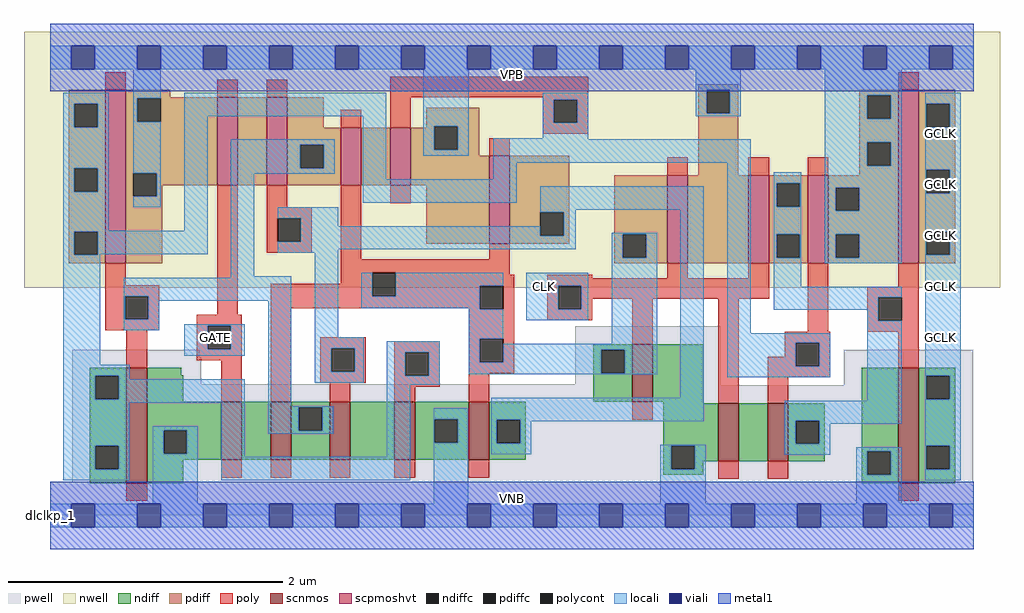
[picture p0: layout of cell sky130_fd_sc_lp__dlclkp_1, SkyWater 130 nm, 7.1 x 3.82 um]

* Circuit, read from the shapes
.subckt sky130_fd_sc_lp__dlclkp_1 CLK GATE VGND VNB VPB VPWR GCLK
XM1 VGND n1 n2 VNB sky130_fd_pr__nfet_01v8 w=0.84 l=0.15
XM2 n3 GATE VGND VNB sky130_fd_pr__nfet_01v8 w=0.42 l=0.15
XM3 n1 n4 n3 VNB sky130_fd_pr__nfet_01v8 w=0.42 l=0.15
XM4 n5 n6 n1 VNB sky130_fd_pr__nfet_01v8 w=0.42 l=0.15
XM5 VGND n2 n5 VNB sky130_fd_pr__nfet_01v8 w=0.42 l=0.15
XM6 n6 n4 VGND VNB sky130_fd_pr__nfet_01v8 w=0.42 l=0.15
XM7 VGND CLK n4 VNB sky130_fd_pr__nfet_01v8 w=0.42 l=0.15
XM8 n7 CLK VGND VNB sky130_fd_pr__nfet_01v8 w=0.42 l=0.15
XM9 n8 n2 n7 VNB sky130_fd_pr__nfet_01v8 w=0.42 l=0.15
XM10 GCLK n8 VGND VNB sky130_fd_pr__nfet_01v8 w=0.84 l=0.15
XM11 VPWR n1 n2 VPB sky130_fd_pr__pfet_01v8_hvt w=1.26 l=0.15
XM12 n9 GATE VPWR VPB sky130_fd_pr__pfet_01v8_hvt w=0.64 l=0.15
XM13 n1 n6 n9 VPB sky130_fd_pr__pfet_01v8_hvt w=0.64 l=0.15
XM14 n10 n4 n1 VPB sky130_fd_pr__pfet_01v8_hvt w=0.42 l=0.15
XM15 VPWR n2 n10 VPB sky130_fd_pr__pfet_01v8_hvt w=0.42 l=0.15
XM16 n6 n4 VPWR VPB sky130_fd_pr__pfet_01v8_hvt w=0.64 l=0.15
XM17 VPWR CLK n4 VPB sky130_fd_pr__pfet_01v8_hvt w=0.64 l=0.15
XM18 n8 CLK VPWR VPB sky130_fd_pr__pfet_01v8_hvt w=0.64 l=0.15
XM19 VPWR n2 n8 VPB sky130_fd_pr__pfet_01v8_hvt w=0.64 l=0.15
XM20 GCLK n8 VPWR VPB sky130_fd_pr__pfet_01v8_hvt w=1.26 l=0.15
.ends

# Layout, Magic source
magic
tech sky130A
magscale 1 2
<< nwell >>
rect -38 331 1382 704
<< pwell >>
rect 32 230 217 241
rect 32 191 220 230
rect 764 191 976 275
rect 32 189 976 191
rect 1155 189 1343 241
rect 32 49 1343 189
rect 0 0 1344 49
<< scnmos >>
rect 111 47 141 215
rect 847 165 877 249
rect 249 81 279 165
rect 321 81 351 165
rect 407 81 437 165
rect 501 81 531 165
rect 609 81 639 165
rect 972 79 1002 163
rect 1044 79 1074 163
rect 1234 47 1264 215
<< scpmoshvt >>
rect 80 367 110 619
rect 243 480 273 608
rect 315 480 345 608
rect 423 480 453 564
rect 495 480 525 564
rect 639 395 669 523
rect 898 367 928 495
rect 1016 367 1046 495
rect 1102 367 1132 495
rect 1234 367 1264 619
<< ndiff >>
rect 58 203 111 215
rect 58 169 66 203
rect 100 169 111 203
rect 58 101 111 169
rect 58 67 66 101
rect 100 67 111 101
rect 58 47 111 67
rect 141 204 191 215
rect 141 165 194 204
rect 790 241 847 249
rect 790 207 802 241
rect 836 207 847 241
rect 790 165 847 207
rect 877 165 950 249
rect 141 124 249 165
rect 141 90 165 124
rect 199 90 249 124
rect 141 81 249 90
rect 279 81 321 165
rect 351 157 407 165
rect 351 123 362 157
rect 396 123 407 157
rect 351 81 407 123
rect 437 81 501 165
rect 531 140 609 165
rect 531 106 559 140
rect 593 106 609 140
rect 531 81 609 106
rect 639 139 692 165
rect 892 163 950 165
rect 639 105 650 139
rect 684 105 692 139
rect 639 81 692 105
rect 892 101 972 163
rect 141 47 194 81
rect 892 67 904 101
rect 938 79 972 101
rect 1002 79 1044 163
rect 1074 138 1127 163
rect 1074 104 1085 138
rect 1119 104 1127 138
rect 1074 79 1127 104
rect 1181 93 1234 215
rect 938 67 950 79
rect 892 59 950 67
rect 1181 59 1189 93
rect 1223 59 1234 93
rect 1181 47 1234 59
rect 1264 203 1317 215
rect 1264 169 1275 203
rect 1309 169 1317 203
rect 1264 101 1317 169
rect 1264 67 1275 101
rect 1309 67 1317 101
rect 1264 47 1317 67
<< pdiff >>
rect 27 599 80 619
rect 27 565 35 599
rect 69 565 80 599
rect 27 505 80 565
rect 27 471 35 505
rect 69 471 80 505
rect 27 413 80 471
rect 27 379 35 413
rect 69 379 80 413
rect 27 367 80 379
rect 110 608 175 619
rect 110 607 243 608
rect 110 573 127 607
rect 161 573 243 607
rect 110 498 243 573
rect 110 464 121 498
rect 155 480 243 498
rect 273 480 315 608
rect 345 564 398 608
rect 547 566 624 593
rect 547 564 559 566
rect 345 539 423 564
rect 345 505 364 539
rect 398 505 423 539
rect 345 480 423 505
rect 453 480 495 564
rect 525 532 559 564
rect 593 532 624 566
rect 943 619 1001 627
rect 943 585 955 619
rect 989 585 1001 619
rect 525 523 624 532
rect 525 480 639 523
rect 155 464 163 480
rect 110 367 163 464
rect 547 395 639 480
rect 669 441 755 523
rect 943 495 1001 585
rect 1177 611 1234 619
rect 1177 577 1189 611
rect 1223 577 1234 611
rect 1177 543 1234 577
rect 1177 509 1189 543
rect 1223 509 1234 543
rect 1177 495 1234 509
rect 669 407 713 441
rect 747 407 755 441
rect 669 395 755 407
rect 821 409 898 495
rect 821 375 833 409
rect 867 375 898 409
rect 821 367 898 375
rect 928 367 1016 495
rect 1046 483 1102 495
rect 1046 449 1057 483
rect 1091 449 1102 483
rect 1046 409 1102 449
rect 1046 375 1057 409
rect 1091 375 1102 409
rect 1046 367 1102 375
rect 1132 477 1234 495
rect 1132 443 1143 477
rect 1177 443 1234 477
rect 1132 409 1234 443
rect 1132 375 1143 409
rect 1177 375 1234 409
rect 1132 367 1234 375
rect 1264 599 1317 619
rect 1264 565 1275 599
rect 1309 565 1317 599
rect 1264 503 1317 565
rect 1264 469 1275 503
rect 1309 469 1317 503
rect 1264 413 1317 469
rect 1264 379 1275 413
rect 1309 379 1317 413
rect 1264 367 1317 379
<< ndiffc >>
rect 66 169 100 203
rect 66 67 100 101
rect 802 207 836 241
rect 165 90 199 124
rect 362 123 396 157
rect 559 106 593 140
rect 650 105 684 139
rect 904 67 938 101
rect 1085 104 1119 138
rect 1189 59 1223 93
rect 1275 169 1309 203
rect 1275 67 1309 101
<< pdiffc >>
rect 35 565 69 599
rect 35 471 69 505
rect 35 379 69 413
rect 127 573 161 607
rect 121 464 155 498
rect 364 505 398 539
rect 559 532 593 566
rect 955 585 989 619
rect 1189 577 1223 611
rect 1189 509 1223 543
rect 713 407 747 441
rect 833 375 867 409
rect 1057 449 1091 483
rect 1057 375 1091 409
rect 1143 443 1177 477
rect 1143 375 1177 409
rect 1275 565 1309 599
rect 1275 469 1309 503
rect 1275 379 1309 413
<< poly >>
rect 80 619 110 645
rect 243 608 273 634
rect 315 608 345 634
rect 495 608 783 638
rect 423 564 453 590
rect 495 564 525 608
rect 717 605 783 608
rect 717 571 733 605
rect 767 571 783 605
rect 717 555 783 571
rect 1234 619 1264 645
rect 639 523 669 549
rect 80 335 110 367
rect 80 319 159 335
rect 80 285 109 319
rect 143 285 159 319
rect 243 292 273 480
rect 315 448 345 480
rect 315 432 381 448
rect 315 398 331 432
rect 365 398 381 432
rect 315 382 381 398
rect 423 373 453 480
rect 495 454 525 480
rect 898 495 928 521
rect 1016 495 1046 521
rect 1102 495 1132 521
rect 639 373 669 395
rect 423 353 669 373
rect 423 337 469 353
rect 321 319 469 337
rect 503 350 669 353
rect 503 334 675 350
rect 503 319 625 334
rect 321 301 625 319
rect 80 269 159 285
rect 213 276 279 292
rect 111 215 141 269
rect 213 242 229 276
rect 263 242 279 276
rect 213 226 279 242
rect 249 165 279 226
rect 321 165 351 301
rect 609 300 625 301
rect 659 300 675 334
rect 393 243 459 259
rect 609 257 675 300
rect 723 345 789 350
rect 898 345 928 367
rect 1016 345 1046 367
rect 723 334 1046 345
rect 723 300 739 334
rect 773 315 1046 334
rect 773 300 789 315
rect 723 284 789 300
rect 393 209 409 243
rect 443 209 459 243
rect 393 193 459 209
rect 501 237 567 253
rect 501 203 517 237
rect 551 203 567 237
rect 407 165 437 193
rect 501 187 567 203
rect 609 223 625 257
rect 659 223 675 257
rect 847 249 877 315
rect 609 207 675 223
rect 501 165 531 187
rect 609 165 639 207
rect 847 139 877 165
rect 972 163 1002 315
rect 1102 267 1132 367
rect 1234 333 1264 367
rect 1189 317 1264 333
rect 1189 283 1205 317
rect 1239 283 1264 317
rect 1189 267 1264 283
rect 1069 251 1135 267
rect 1069 231 1085 251
rect 1044 217 1085 231
rect 1119 217 1135 251
rect 1044 201 1135 217
rect 1234 215 1264 267
rect 1044 163 1074 201
rect 249 55 279 81
rect 321 55 351 81
rect 407 55 437 81
rect 501 55 531 81
rect 609 55 639 81
rect 972 53 1002 79
rect 1044 53 1074 79
rect 111 21 141 47
rect 1234 21 1264 47
<< polycont >>
rect 733 571 767 605
rect 109 285 143 319
rect 331 398 365 432
rect 469 319 503 353
rect 229 242 263 276
rect 625 300 659 334
rect 739 300 773 334
rect 409 209 443 243
rect 517 203 551 237
rect 625 223 659 257
rect 1205 283 1239 317
rect 1085 217 1119 251
<< locali >>
rect 0 649 31 683
rect 65 649 127 683
rect 161 649 223 683
rect 257 649 319 683
rect 353 649 415 683
rect 449 649 511 683
rect 545 649 607 683
rect 641 649 703 683
rect 737 649 799 683
rect 833 649 895 683
rect 929 649 991 683
rect 1025 649 1087 683
rect 1121 649 1183 683
rect 1217 649 1279 683
rect 1313 649 1344 683
rect 19 599 85 615
rect 19 565 35 599
rect 69 565 85 599
rect 19 505 85 565
rect 19 471 35 505
rect 69 471 85 505
rect 19 414 85 471
rect 121 607 161 649
rect 121 573 127 607
rect 121 498 161 573
rect 155 464 161 498
rect 121 448 161 464
rect 195 581 489 615
rect 195 414 229 581
rect 19 413 229 414
rect 19 379 35 413
rect 69 380 229 413
rect 263 539 414 547
rect 263 505 364 539
rect 398 505 414 539
rect 263 497 414 505
rect 69 379 73 380
rect 19 219 73 379
rect 263 348 297 497
rect 455 489 489 581
rect 543 566 609 649
rect 939 619 1005 649
rect 543 532 559 566
rect 593 532 609 566
rect 717 605 783 615
rect 717 571 733 605
rect 767 571 783 605
rect 939 585 955 619
rect 989 585 1005 619
rect 939 581 1005 585
rect 1127 611 1239 649
rect 717 549 783 571
rect 543 523 609 532
rect 645 547 783 549
rect 1127 577 1189 611
rect 1223 577 1239 611
rect 645 513 1019 547
rect 645 489 679 513
rect 455 455 679 489
rect 331 432 419 448
rect 365 421 419 432
rect 713 445 951 479
rect 713 441 765 445
rect 365 407 713 421
rect 747 407 765 441
rect 365 398 765 407
rect 331 387 765 398
rect 817 409 883 411
rect 331 382 419 387
rect 263 346 351 348
rect 107 319 351 346
rect 107 285 109 319
rect 143 312 351 319
rect 143 285 159 312
rect 107 269 159 285
rect 195 276 283 278
rect 195 242 229 276
rect 263 242 283 276
rect 195 232 283 242
rect 19 203 116 219
rect 19 169 66 203
rect 100 198 116 203
rect 100 169 283 198
rect 19 164 283 169
rect 19 101 115 164
rect 19 67 66 101
rect 100 67 115 101
rect 19 51 115 67
rect 149 124 215 130
rect 149 90 165 124
rect 199 90 215 124
rect 149 17 215 90
rect 249 85 283 164
rect 317 159 351 312
rect 385 259 419 382
rect 817 375 833 409
rect 867 375 883 409
rect 453 319 469 353
rect 503 334 659 353
rect 503 319 625 334
rect 453 301 625 319
rect 609 300 625 301
rect 385 243 456 259
rect 609 257 659 300
rect 693 334 783 353
rect 693 300 739 334
rect 773 300 783 334
rect 693 284 783 300
rect 385 209 409 243
rect 443 209 456 243
rect 385 193 456 209
rect 490 237 567 253
rect 490 203 517 237
rect 551 203 567 237
rect 609 223 625 257
rect 817 250 883 375
rect 659 241 883 250
rect 659 223 802 241
rect 609 207 802 223
rect 836 207 883 241
rect 609 205 883 207
rect 490 190 567 203
rect 317 157 412 159
rect 317 123 362 157
rect 396 123 412 157
rect 317 119 412 123
rect 490 85 524 190
rect 917 171 951 445
rect 985 265 1019 513
rect 1127 543 1239 577
rect 1127 509 1189 543
rect 1223 509 1239 543
rect 1053 483 1093 499
rect 1053 449 1057 483
rect 1091 449 1093 483
rect 1053 409 1093 449
rect 1053 375 1057 409
rect 1091 375 1093 409
rect 1053 333 1093 375
rect 1127 477 1239 509
rect 1127 443 1143 477
rect 1177 443 1239 477
rect 1127 409 1239 443
rect 1127 375 1143 409
rect 1177 375 1239 409
rect 1127 367 1239 375
rect 1273 599 1325 615
rect 1273 565 1275 599
rect 1309 565 1325 599
rect 1273 503 1325 565
rect 1273 469 1275 503
rect 1309 469 1325 503
rect 1273 413 1325 469
rect 1273 379 1275 413
rect 1309 379 1325 413
rect 1053 317 1239 333
rect 1053 299 1205 317
rect 1189 283 1205 299
rect 985 251 1135 265
rect 985 217 1085 251
rect 1119 217 1135 251
rect 985 201 1135 217
rect 249 51 524 85
rect 558 140 608 156
rect 558 106 559 140
rect 593 106 608 140
rect 558 17 608 106
rect 642 139 951 171
rect 1189 167 1239 283
rect 642 105 650 139
rect 684 137 951 139
rect 1069 138 1239 167
rect 684 105 700 137
rect 642 89 700 105
rect 1069 104 1085 138
rect 1119 133 1239 138
rect 1273 203 1325 379
rect 1273 169 1275 203
rect 1309 169 1325 203
rect 1119 104 1135 133
rect 888 101 954 103
rect 888 67 904 101
rect 938 67 954 101
rect 1069 88 1135 104
rect 1273 101 1325 169
rect 1173 93 1239 99
rect 888 17 954 67
rect 1173 59 1189 93
rect 1223 59 1239 93
rect 1173 17 1239 59
rect 1273 67 1275 101
rect 1309 67 1325 101
rect 1273 51 1325 67
rect 0 -17 31 17
rect 65 -17 127 17
rect 161 -17 223 17
rect 257 -17 319 17
rect 353 -17 415 17
rect 449 -17 511 17
rect 545 -17 607 17
rect 641 -17 703 17
rect 737 -17 799 17
rect 833 -17 895 17
rect 929 -17 991 17
rect 1025 -17 1087 17
rect 1121 -17 1183 17
rect 1217 -17 1279 17
rect 1313 -17 1344 17
<< viali >>
rect 31 649 65 683
rect 127 649 161 683
rect 223 649 257 683
rect 319 649 353 683
rect 415 649 449 683
rect 511 649 545 683
rect 607 649 641 683
rect 703 649 737 683
rect 799 649 833 683
rect 895 649 929 683
rect 991 649 1025 683
rect 1087 649 1121 683
rect 1183 649 1217 683
rect 1279 649 1313 683
rect 31 -17 65 17
rect 127 -17 161 17
rect 223 -17 257 17
rect 319 -17 353 17
rect 415 -17 449 17
rect 511 -17 545 17
rect 607 -17 641 17
rect 703 -17 737 17
rect 799 -17 833 17
rect 895 -17 929 17
rect 991 -17 1025 17
rect 1087 -17 1121 17
rect 1183 -17 1217 17
rect 1279 -17 1313 17
<< metal1 >>
rect 0 683 1344 715
rect 0 649 31 683
rect 65 649 127 683
rect 161 649 223 683
rect 257 649 319 683
rect 353 649 415 683
rect 449 649 511 683
rect 545 649 607 683
rect 641 649 703 683
rect 737 649 799 683
rect 833 649 895 683
rect 929 649 991 683
rect 1025 649 1087 683
rect 1121 649 1183 683
rect 1217 649 1279 683
rect 1313 649 1344 683
rect 0 617 1344 649
rect 0 17 1344 49
rect 0 -17 31 17
rect 65 -17 127 17
rect 161 -17 223 17
rect 257 -17 319 17
rect 353 -17 415 17
rect 449 -17 511 17
rect 545 -17 607 17
rect 641 -17 703 17
rect 737 -17 799 17
rect 833 -17 895 17
rect 929 -17 991 17
rect 1025 -17 1087 17
rect 1121 -17 1183 17
rect 1217 -17 1279 17
rect 1313 -17 1344 17
rect 0 -49 1344 -17
<< labels >>
flabel pwell s 0 0 1344 49 0 FreeSans 200 0 0 0 VNB
port 4 nsew ground bidirectional
flabel nwell s 0 617 1344 666 0 FreeSans 200 0 0 0 VPB
port 5 nsew power bidirectional
rlabel comment s 0 0 0 0 4 dlclkp_1
flabel metal1 s 0 617 1344 666 0 FreeSans 340 0 0 0 VPWR
port 6 nsew power bidirectional
flabel metal1 s 0 0 1344 49 0 FreeSans 340 0 0 0 VGND
port 3 nsew ground bidirectional
flabel locali s 703 316 737 350 0 FreeSans 340 0 0 0 CLK
port 1 nsew clock input
flabel locali s 223 242 257 276 0 FreeSans 340 0 0 0 GATE
port 2 nsew signal input
flabel locali s 1279 242 1313 276 0 FreeSans 340 0 0 0 GCLK
port 7 nsew signal output
flabel locali s 1279 316 1313 350 0 FreeSans 340 0 0 0 GCLK
port 7 nsew signal output
flabel locali s 1279 390 1313 424 0 FreeSans 340 0 0 0 GCLK
port 7 nsew signal output
flabel locali s 1279 464 1313 498 0 FreeSans 340 0 0 0 GCLK
port 7 nsew signal output
flabel locali s 1279 538 1313 572 0 FreeSans 340 0 0 0 GCLK
port 7 nsew signal output
<< properties >>
string LEFsite unit
string LEFclass CORE
string FIXED_BBOX 0 0 1344 666
string GDS_FILE $PDKPATH/libs.ref/sky130_fd_sc_lp/gds/sky130_fd_sc_lp.gds
string LEFsymmetry X Y R90
string GDS_END 3567902
string GDS_START 3557472
<< end >>
